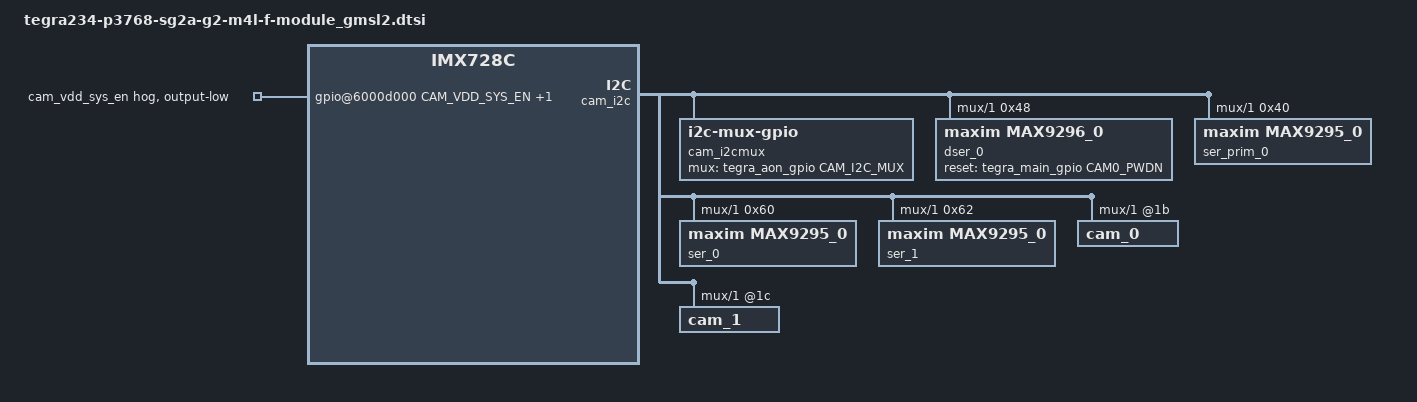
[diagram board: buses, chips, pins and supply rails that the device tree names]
/*
 * Copyright (c) 2018-2021, NVIDIA CORPORATION.  All rights reserved.
 *
 * This program is free software; you can redistribute it and/or modify it
 * under the terms and conditions of the GNU General Public License,
 * version 2, as published by the Free Software Foundation.
 *
 * This program is distributed in the hope it will be useful, but WITHOUT
 * ANY WARRANTY; without even the implied warranty of MERCHANTABILITY or
 * FITNESS FOR A PARTICULAR PURPOSE.  See the GNU General Public License for
 * more details.
 *
 * You should have received a copy of the GNU General Public License
 * along with this program.  If not, see <http://www.gnu.org/licenses/>.
 */

#include "dt-bindings/clock/tegra234-clock.h"

#include "sg8-imx728c-g2g.dtsi"

#define CAM_VDD_SYS_EN	TEGRA234_MAIN_GPIO(AC, 7)
#define CAM0_PWDN	TEGRA234_MAIN_GPIO(H, 6)
#define CAM_I2C_MUX 	TEGRA234_AON_GPIO(CC, 3)

/* camera control gpio definitions */
/ {

	gpio@6000d000 {
		camera-control-output-low {
			gpio-hog;
			output-low;
			gpios = <CAM_VDD_SYS_EN 0 CAM0_PWDN 0>;
			label = "cam_vdd_sys_en", "cam0-pwdn";
		};
	};
	
	cam_i2cmux {
		compatible = "i2c-mux-gpio";
		#address-cells = <1>;
		#size-cells = <0>;
		mux-gpios = <&tegra_aon_gpio CAM_I2C_MUX GPIO_ACTIVE_HIGH>;
		i2c-parent = <&cam_i2c>;

        i2c@0 {
			reg = <0>;
			#address-cells = <1>;
			#size-cells = <0>;
        };

		i2c@1 {
			reg = <1>;
			#address-cells = <1>;
			#size-cells = <0>;
			dser_0: max9296_0@48 {
				compatible = "maxim,max9296_0";
				reg = <0x48>;
				csi-mode = "2x4";
				max-src = <2>;
				reset-gpios = <&tegra_main_gpio CAM0_PWDN GPIO_ACTIVE_HIGH>;
			};
			ser_prim_0: max9295_prim_0@40{
				compatible = "maxim,max9295_0";
				reg = <0x40>;
				is-prim-ser;
			};
			ser_0: max9295_0@60 {
				compatible = "maxim,max9295_0";
				reg = <0x60>;
				sensing,gmsl-dser-device = <&dser_0>;
			};
			ser_1: max9295_1@62 {
				compatible = "maxim,max9295_0";
				reg = <0x62>;
				sensing,gmsl-dser-device = <&dser_0>;
			};
			cam_0@1b {
				/* Define any required hw resources needed by driver */
				/* ie. clocks, io pins, power sources */
				clocks = <&bpmp_clks TEGRA234_CLK_EXTPERIPH1>,
						<&bpmp_clks TEGRA234_CLK_EXTPERIPH1>;
				clock-names = "extperiph1", "pllp_grtba";
				mclk = "extperiph1";
				sensing,gmsl-ser-device = <&ser_0>;
				sensing,gmsl-dser-device = <&dser_0>;
			};
			cam_1@1c {
				/* Define any required hw resources needed by driver */
				/* ie. clocks, io pins, power sources */
				clocks = <&bpmp_clks TEGRA234_CLK_EXTPERIPH1>,
						<&bpmp_clks TEGRA234_CLK_EXTPERIPH1>;
				clock-names = "extperiph1", "pllp_grtba";
				mclk = "extperiph1";
				sensing,gmsl-ser-device = <&ser_1>;
				sensing,gmsl-dser-device = <&dser_0>;
			};
		};
	};
};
